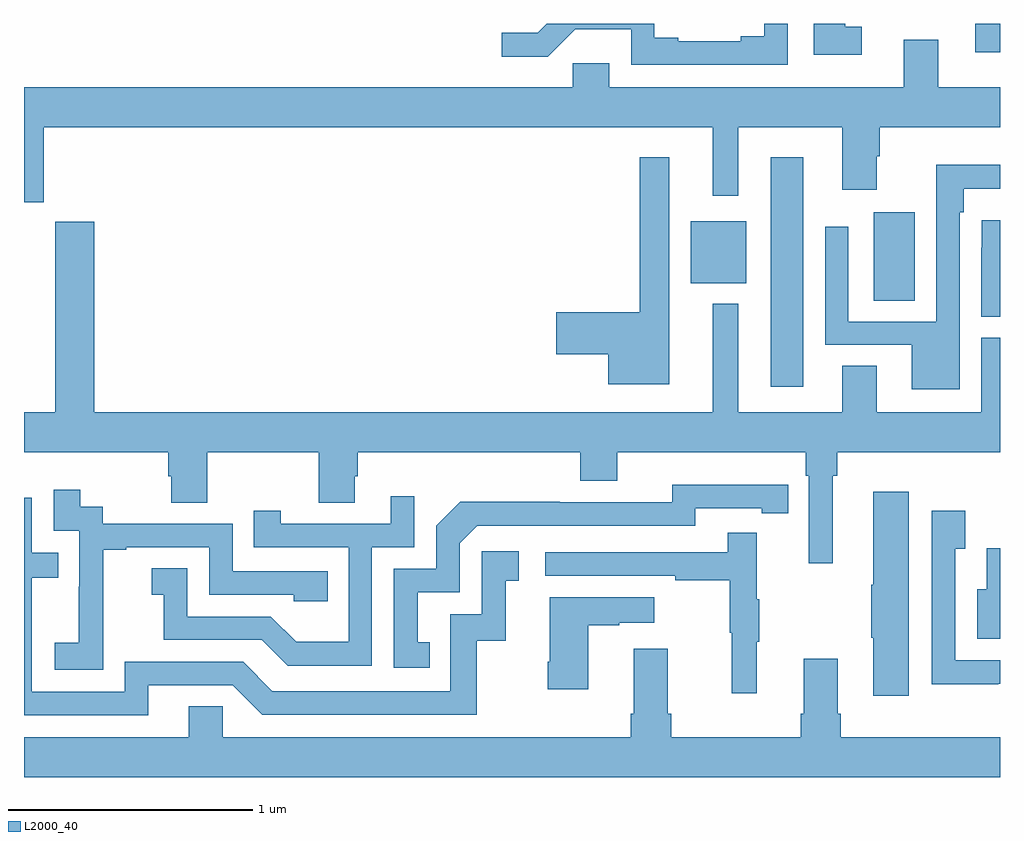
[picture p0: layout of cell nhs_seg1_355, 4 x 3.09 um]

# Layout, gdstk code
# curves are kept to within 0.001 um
import gdstk
lib = gdstk.Library(unit=1e-6, precision=1e-09)
def R(c, l, rs):  # rectangles x0, y0, x1, y1
    for r in rs: c.add(gdstk.rectangle(r[:2], r[2:], *l))
def P(c, l, *ps):  # polygons
    for p in ps: c.add(gdstk.Polygon(p, *l))
L2000_40 = (2000, 40)

nhs_seg1_355 = lib.new_cell('nhs_seg1_355')
R(nhs_seg1_355, L2000_40, [(134.06,506.712,134.194,507.652), (134.483,507.064,134.65,507.427), (133.733,507.137,133.96,507.391), (134.898,508.082,135,508.199)])
P(nhs_seg1_355, L2000_40, [(134.13,508.199),(134.033,508.199),(134.033,508.148),(133.937,508.148),(133.937,508.128),(133.681,508.128),(133.681,508.142),(133.584,508.142),(133.584,508.199),(133.142,508.199),(133.105,508.162),(132.957,508.162),(132.957,508.065),(133.146,508.065),(133.259,508.178),(133.488,508.178),(133.488,508.032),(134.13,508.032)],
  [(134.434,508.188),(134.365,508.188),(134.365,508.199),(134.237,508.199),(134.237,508.073),(134.434,508.073)],
  [(131.08,507.776),(133.823,507.776),(133.823,507.495),(133.927,507.495),(133.927,507.776),(134.354,507.776),(134.354,507.519),(134.494,507.519),(134.494,507.656),(134.507,507.656),(134.507,507.776),(135,507.776),(135,507.94),(134.746,507.94),(134.746,508.135),(134.606,508.135),(134.606,507.94),(133.399,507.94),(133.399,508.038),(133.248,508.038),(133.248,507.94),(131,507.94),(131,507.467),(131.08,507.467)],
  [(133.645,507.652),(133.524,507.652),(133.524,507.017),(133.182,507.017),(133.182,506.846),(133.394,506.846),(133.394,506.723),(133.645,506.723)],
  [(134.835,507.428),(134.851,507.428),(134.851,507.524),(135,507.524),(135,507.622),(134.739,507.622),(134.739,506.979),(134.379,506.979),(134.379,507.367),(134.283,507.367),(134.283,506.883),(134.639,506.883),(134.639,506.702),(134.835,506.702)],
  [(135,507.394),(134.925,507.394),(134.925,507.281),(134.924,507.281),(134.924,506.998),(135,506.998)],
  [(134.314,506.348),(134.333,506.348),(134.333,506.444),(135,506.444),(135,506.913),(134.924,506.913),(134.924,506.608),(134.494,506.608),(134.494,506.798),(134.354,506.798),(134.354,506.608),(133.927,506.608),(133.927,507.052),(133.823,507.052),(133.823,506.608),(131.288,506.608),(131.288,507.388),(131.128,507.388),(131.128,506.608),(131,506.608),(131,506.444),(131.591,506.444),(131.591,506.346),(131.603,506.346),(131.603,506.236),(131.751,506.236),(131.751,506.444),(132.208,506.444),(132.208,506.236),(132.355,506.236),(132.355,506.346),(132.368,506.346),(132.368,506.444),(133.28,506.444),(133.28,506.327),(133.432,506.327),(133.432,506.444),(134.204,506.444),(134.204,506.348),(134.217,506.348),(134.217,505.989),(134.314,505.989)],
  [(132.662,505.665),(132.613,505.665),(132.613,505.869),(132.786,505.869),(132.786,506.07),(132.858,506.142),(133.752,506.142),(133.752,506.214),(134.024,506.214),(134.024,506.194),(134.132,506.194),(134.132,506.31),(133.656,506.311),(133.656,506.238),(133.196,506.238),(133.196,506.24),(132.788,506.24),(132.69,506.142),(132.69,505.965),(132.516,505.965),(132.516,505.56),(132.662,505.56)],
  [(131.325,505.759),(131.324,505.759),(131.324,506.043),(131.419,506.043),(131.419,506.055),(131.76,506.055),(131.76,505.86),(132.105,505.86),(132.105,505.833),(132.245,505.833),(132.245,505.956),(131.856,505.956),(131.856,506.151),(131.322,506.151),(131.322,506.22),(131.23,506.22),(131.23,506.29),(131.121,506.29),(131.121,506.121),(131.226,506.121),(131.226,505.892),(131.225,505.892),(131.225,505.663),(131.127,505.663),(131.127,505.553),(131.325,505.553)],
  [(134.626,506.281),(134.48,506.281),(134.48,505.901),(134.473,505.901),(134.473,505.684),(134.48,505.684),(134.48,505.446),(134.626,505.446)],
  [(132.426,506.055),(132.6,506.055),(132.6,506.263),(132.503,506.263),(132.503,506.151),(132.052,506.151),(132.052,506.203),(131.941,506.203),(131.941,506.055),(132.33,506.055),(132.33,505.666),(132.116,505.666),(132.012,505.77),(131.67,505.77),(131.67,505.969),(131.523,505.969),(131.523,505.859),(131.572,505.859),(131.572,505.674),(131.975,505.674),(132.08,505.569),(132.426,505.569)],
  [(131.509,505.488),(131.856,505.488),(131.976,505.368),(132.856,505.368),(132.856,505.671),(132.974,505.671),(132.974,505.917),(133.027,505.917),(133.027,506.038),(132.876,506.038),(132.876,505.779),(132.747,505.779),(132.747,505.464),(132.018,505.464),(131.898,505.584),(131.412,505.584),(131.412,505.461),(131.031,505.461),(131.031,505.93),(131.141,505.93),(131.141,506.031),(131.031,506.031),(131.031,506.256),(131,506.256),(131,505.365),(131.509,505.365)],
  [(134.993,505.494),(135,505.494),(135,505.59),(134.817,505.59),(134.817,506.047),(134.857,506.047),(134.857,506.203),(134.721,506.203),(134.721,505.493),(134.993,505.493)],
  [(134.003,505.667),(134.014,505.667),(134.014,505.841),(134.003,505.841),(134.003,506.113),(133.885,506.113),(133.885,506.034),(133.137,506.034),(133.137,505.938),(133.669,505.938),(133.669,505.918),(133.893,505.918),(133.893,505.704),(133.9,505.704),(133.9,505.455),(134.003,505.455)],
  [(135,506.05),(134.945,506.05),(134.945,505.882),(134.906,505.882),(134.906,505.679),(135,505.679)],
  [(133.312,505.735),(133.439,505.735),(133.439,505.745),(133.582,505.745),(133.582,505.849),(133.154,505.849),(133.154,505.585),(133.147,505.585),(133.147,505.473),(133.312,505.473)],
  [(135,505.276),(134.348,505.276),(134.348,505.372),(134.335,505.372),(134.335,505.597),(134.195,505.597),(134.195,505.372),(134.183,505.372),(134.183,505.276),(133.652,505.276),(133.652,505.372),(133.639,505.372),(133.639,505.639),(133.499,505.639),(133.499,505.372),(133.487,505.372),(133.487,505.276),(131.814,505.276),(131.814,505.403),(131.675,505.403),(131.675,505.276),(131,505.276),(131,505.112),(135,505.112)])

lib.write_gds('nhs_seg1_355.gds')
